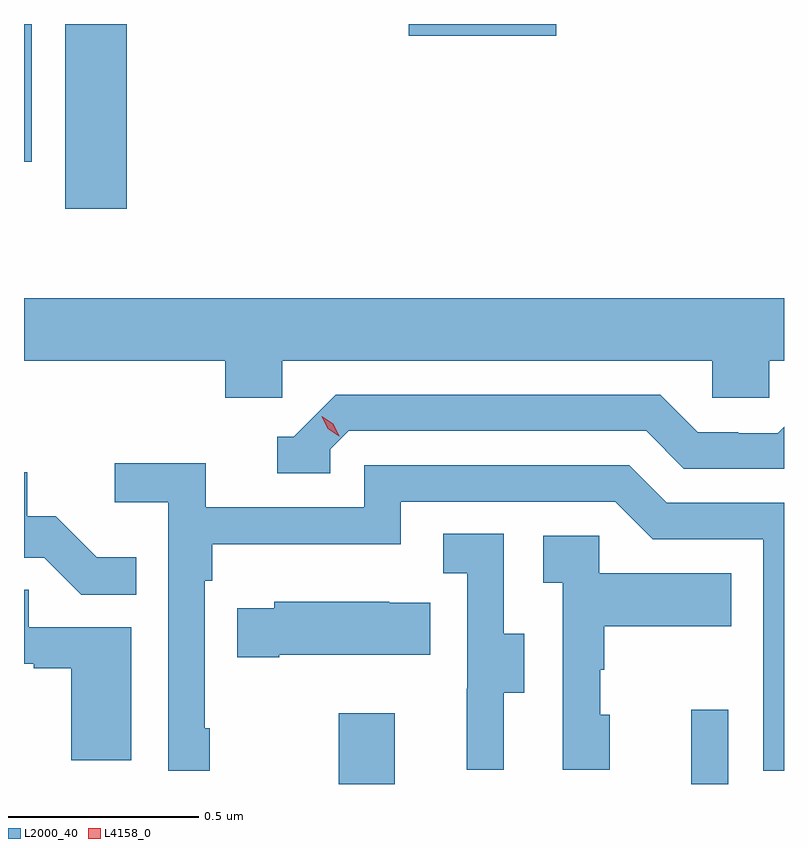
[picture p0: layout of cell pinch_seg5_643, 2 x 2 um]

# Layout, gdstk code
import gdstk
lib = gdstk.Library(unit=1e-6, precision=1e-09)
def R(c, l, rs):  # rectangles x0, y0, x1, y1
    for r in rs: c.add(gdstk.rectangle(r[:2], r[2:], *l))
def P(c, l, *ps):  # polygons
    for p in ps: c.add(gdstk.Polygon(p, *l))
L2000_40 = (2000, 40)
L4158_0 = (4158, 0)

pinch_seg5_643 = lib.new_cell('pinch_seg5_643')
R(pinch_seg5_643, L2000_40, [(1066.924,859.642,1067.071,859.828), (1067.852,859.642,1067.949,859.837), (1066.205,861.156,1066.366,861.642), (1066.096,861.279,1066.116,861.642), (1067.108,861.611,1067.497,861.642)])
P(pinch_seg5_643, L2000_40, [(1066.776,860.756),(1067.907,860.756),(1067.907,860.658),(1068.057,860.658),(1068.057,860.756),(1068.096,860.756),(1068.096,860.92),(1066.096,860.92),(1066.096,860.756),(1066.625,860.756),(1066.625,860.658),(1066.776,860.658)],
  [(1066.902,860.523),(1066.95,860.571),(1067.733,860.571),(1067.832,860.472),(1068.096,860.472),(1068.096,860.582),(1068.079,860.565),(1067.976,860.565),(1067.976,860.568),(1067.869,860.568),(1067.77,860.667),(1066.917,860.667),(1066.806,860.556),(1066.763,860.556),(1066.763,860.46),(1066.902,860.46)],
  [(1066.585,859.789),(1066.572,859.789),(1066.572,860.177),(1066.592,860.177),(1066.592,860.273),(1067.088,860.273),(1067.088,860.385),(1067.652,860.385),(1067.751,860.286),(1068.042,860.286),(1068.042,859.677),(1068.096,859.677),(1068.096,860.382),(1067.788,860.382),(1067.689,860.481),(1066.992,860.481),(1066.992,860.37),(1066.574,860.37),(1066.574,860.486),(1066.335,860.486),(1066.335,860.384),(1066.476,860.384),(1066.476,859.677),(1066.585,859.677)],
  [(1066.391,860.239),(1066.287,860.239),(1066.18,860.346),(1066.104,860.346),(1066.104,860.463),(1066.096,860.463),(1066.096,860.238),(1066.149,860.238),(1066.247,860.14),(1066.391,860.14)],
  [(1067.359,859.882),(1067.413,859.882),(1067.413,860.037),(1067.358,860.037),(1067.358,860.3),(1067.199,860.3),(1067.199,860.197),(1067.262,860.197),(1067.262,859.893),(1067.261,859.893),(1067.261,859.68),(1067.359,859.68)],
  [(1067.638,859.824),(1067.613,859.824),(1067.613,859.943),(1067.623,859.943),(1067.623,860.057),(1067.957,860.057),(1067.957,860.197),(1067.61,860.197),(1067.61,860.295),(1067.463,860.295),(1067.463,860.171),(1067.514,860.171),(1067.514,859.68),(1067.638,859.68)],
  [(1066.378,860.055),(1066.109,860.055),(1066.109,860.153),(1066.096,860.153),(1066.096,859.959),(1066.121,859.959),(1066.121,859.947),(1066.22,859.947),(1066.22,859.704),(1066.378,859.704)],
  [(1066.768,859.982),(1067.165,859.982),(1067.165,860.119),(1067.057,860.119),(1067.057,860.122),(1066.755,860.122),(1066.755,860.104),(1066.657,860.104),(1066.657,859.975),(1066.768,859.975)])
P(pinch_seg5_643, L4158_0, [(1066.926,860.557),(1066.895,860.577),(1066.879,860.609),(1066.879,860.61),(1066.879,860.61),(1066.91,860.59),(1066.926,860.557),(1066.926,860.557)])

lib.write_gds('pinch_seg5_643.gds')
